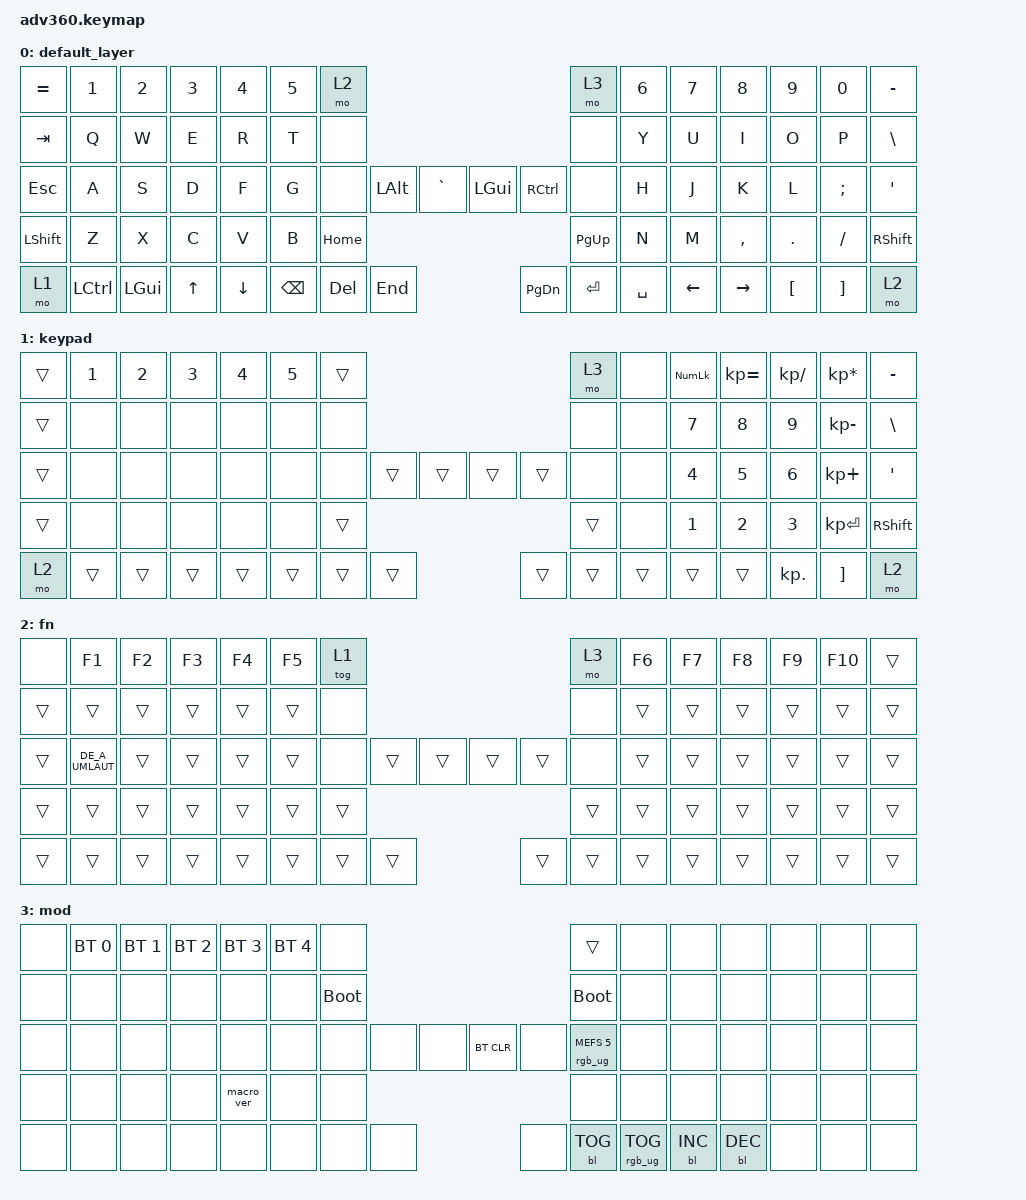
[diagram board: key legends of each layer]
#include <behaviors.dtsi>
#include <dt-bindings/zmk/keys.h>
#include <dt-bindings/zmk/bt.h>
#include <dt-bindings/zmk/rgb.h>
#include <dt-bindings/zmk/backlight.h>
#include "keys_de.h"

/ {
    behaviors {
      #include "macros.dtsi"
      #include "version.dtsi"
      #ifndef VERSION_MACRO
      macro_ver: macro_ver {
        compatible = "zmk,behavior-macro";
        label = "macro_version";
        #binding-cells = <0>;
        bindings = <&kp RET>;
      };
      #endif

      hm: homerow_mods {
          compatible = "zmk,behavior-hold-tap";
          label = "HOMEROW_MODS";
          #binding-cells = <2>;
          tapping-term-ms = <200>;
          quick_tap_ms = <175>;
          flavor = "tap-preferred";
          bindings = <&kp>, <&kp>;
      };
    };

  keymap {
    compatible = "zmk,keymap";

    default_layer {
      bindings = <
        &kp EQUAL &kp N1    &kp N2   &kp N3   &kp N4     &kp N5 &mo 2                                                           &mo 3 &kp N6 &kp N7 &kp N8    &kp N9   &kp N0   &kp MINUS
        &kp TAB   &kp Q     &kp W    &kp E    &kp R      &kp T  &none                                                            &none &kp Y  &kp U  &kp I     &kp O    &kp P    &kp BSLH
        &kp ESC   &kp A     &kp S    &kp D    &kp F      &kp G  &none           &kp LALT &kp GRAVE &kp LGUI  &kp RCTRL           &none &kp H  &kp J  &kp K     &kp L    &kp SEMI &kp SQT
        &kp LSHFT &kp Z     &kp X    &kp C    &kp V      &kp B                            &kp HOME &kp PG_UP                           &kp N  &kp M  &kp COMMA &kp DOT  &kp FSLH &kp RSHFT
        &mo 1     &kp LCTRL &kp LGUI &kp UP &kp DOWN                &kp BSPC &kp DEL   &kp END  &kp PG_DN &kp ENTER &kp SPACE              &kp LEFT &kp RIGHT  &kp LBKT &kp RBKT &mo 2
      >;
    };
    keypad {
      bindings = <
        &trans &kp N1    &kp N2   &kp N3   &kp N4     &kp N5 &trans                                                           &mo 3 &none &kp KP_NUM &kp KP_EQUAL &kp KP_DIVIDE &kp KP_MULTIPLY &kp MINUS
        &trans   &none     &none    &none    &none      &none  &none                                                            &none &none  &kp N7  &kp N8    &kp N9     &kp KP_MINUS    &kp BSLH
        &trans   &none     &none    &none    &none      &none  &none                     &trans &trans &trans  &trans           &none &none  &kp N4  &kp N5    &kp N6     &kp KP_PLUS     &kp SQT
        &trans &none     &none    &none    &none      &none                           &trans &trans                                 &none  &kp N1  &kp N2    &kp N3     &kp KP_ENTER    &kp RSHFT
        &mo 2     &trans &trans &trans &trans                          &trans &trans   &trans  &trans &trans &trans                    &trans     &trans     &kp KP_DOT    &kp RBKT        &mo 2
      >;
    };
    fn {
      bindings = <
        &none &kp F1 &kp F2 &kp F3 &kp F4 &kp F5 &tog 1                                           &mo 3 &kp F6 &kp F7 &kp F8 &kp F9 &kp F10 &trans
        &trans &trans &trans &trans &trans &trans  &none                                           &none &trans &trans &trans &trans  &trans  &trans
        &trans &kp DE_A_UMLAUT &trans &trans &trans &trans  &none        &trans &trans &trans &trans        &none &trans &trans &trans &trans  &trans  &trans
        &trans &trans &trans &trans &trans &trans                      &trans &trans                     &trans &trans &trans &trans  &trans  &trans
        &trans &trans &trans &trans &trans               &trans &trans &trans &trans &trans &trans              &trans &trans &trans  &trans  &trans
      >;
    };
    mod {
      bindings = <
        &none &bt BT_SEL 0 &bt BT_SEL 1 &bt BT_SEL 2 &bt BT_SEL 3 &bt BT_SEL 4 &none                                                                     &trans                 &none        &none        &none        &none &none &none
        &none &none        &none        &none        &none        &none        &bootloader                                                               &bootloader            &none        &none        &none        &none &none &none
        &none &none        &none        &none        &none        &none        &none                   &none &none &bt BT_CLR &none                      &rgb_ug RGB_MEFS_CMD 5 &none        &none        &none        &none &none &none
        &none &none        &none        &none        &macro_ver   &none                                      &none &none                                                        &none        &none        &none        &none &none &none
        &none &none        &none        &none        &none                                       &none &none &none &none      &bl BL_TOG &rgb_ug RGB_TOG                                     &bl BL_INC   &bl BL_DEC   &none &none &none
      >;
    };
  };
};
